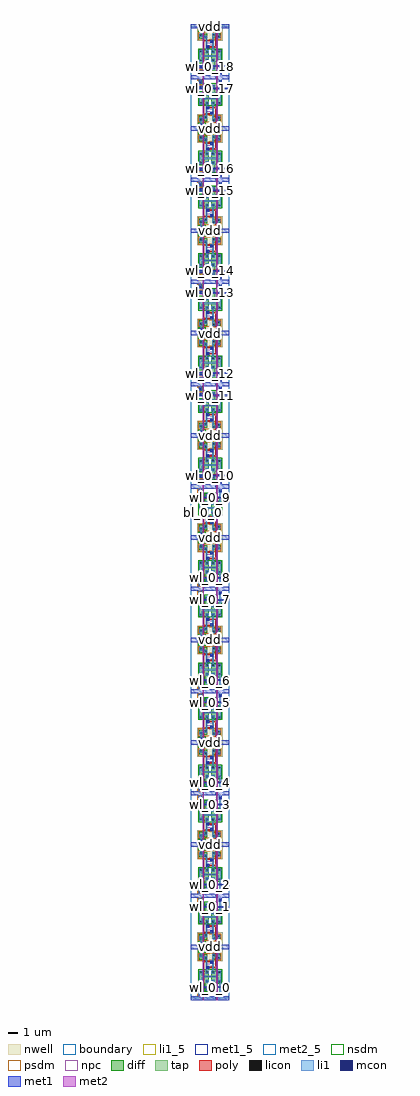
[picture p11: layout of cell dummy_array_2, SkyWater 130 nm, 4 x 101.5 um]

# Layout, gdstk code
import gdstk
lib = gdstk.Library(unit=1e-6, precision=1e-09)
def R(c, l, rs):  # rectangles x0, y0, x1, y1
    for r in rs: c.add(gdstk.rectangle(r[:2], r[2:], *l))
nwell = (64, 20)
diff = (65, 20)
tap = (65, 44)
poly = (66, 20)
licon = (66, 44)
li1_5 = (67, 5)
li1 = (67, 20)
mcon = (67, 44)
met1_5 = (68, 5)
met1 = (68, 20)
met2_5 = (69, 5)
met2 = (69, 20)
nsdm = (93, 44)
psdm = (94, 20)
npc = (95, 20)
boundary = (235, 4)

dummy_cell_1rw = lib.new_cell('dummy_cell_1rw')
R(dummy_cell_1rw, nwell, [(0.7,3.82,3.3,5.54)])
R(dummy_cell_1rw, diff, [(1.46,0.76,1.88,1.59), (2.15,0.76,2.57,1.59), (0.88,1.59,1.88,2.85), (2.15,1.59,3.15,2.85), (0.88,4,1.73,4.55), (2.21,4.05,3.06,4.6)])
R(dummy_cell_1rw, tap, [(0.8,0.32,1.18,0.73), (0.88,4.82,1.41,5.35)])
R(dummy_cell_1rw, poly, [(0.88,0.92,1.21,1.1), (0.7,1.1,3.3,1.25), (1.23,1.46,1.38,3.74), (2.65,1.46,2.8,3.09), (1.6,3.02,1.93,3.09), (1.6,3.09,2.8,3.24), (1.6,3.24,1.93,3.35), (2.56,3.24,2.71,4.73), (2.02,3.56,2.35,3.74), (1.23,3.74,2.35,3.89), (1.23,3.89,1.38,4.68)])
R(dummy_cell_1rw, licon, [(0.91,0.44,1.08,0.61), (1.63,0.83,1.8,1), (2.23,0.84,2.4,1.01), (0.96,1,1.13,1.17), (0.96,1.67,1.13,1.84), (1.63,1.67,1.8,1.84), (2.23,1.67,2.4,1.84), (2.9,1.67,3.07,1.84), (0.96,2.6,1.13,2.77), (1.63,2.6,1.8,2.77), (2.23,2.6,2.4,2.77), (2.9,2.6,3.07,2.77), (1.68,3.1,1.85,3.27), (2.1,3.64,2.27,3.81), (1.48,4.08,1.65,4.25), (2.81,4.13,2.98,4.3), (0.96,4.3,1.13,4.47), (2.29,4.35,2.46,4.52), (1,4.91,1.17,5.08)])
R(dummy_cell_1rw, li1_5, [(1.72,3.14,1.83,3.25), (2.13,3.67,2.24,3.78)])
R(dummy_cell_1rw, li1, [(2.98,0.3,3.15,1.59), (0.83,0.35,1.16,0.69), (1.55,0.76,1.88,1.08), (2.15,0.76,2.48,1.09), (0.88,0.92,1.21,1.25), (0.88,1.59,1.21,2.14), (1.55,1.59,1.88,1.92), (2.15,1.59,2.48,1.92), (2.82,1.59,3.15,2.14), (0.88,2.14,3.15,2.31), (0.88,2.31,1.21,2.85), (2.82,2.31,3.15,2.85), (1.55,2.52,1.88,2.85), (2.15,2.52,2.48,2.85), (1.55,2.85,1.72,3.02), (2.21,2.85,2.38,3.56), (1.55,3.02,1.93,3.35), (1.55,3.35,1.72,4), (2.02,3.56,2.38,3.89), (2.21,3.89,2.38,4.27), (1.4,4,1.73,4.33), (2.73,4.05,3.06,4.38), (0.88,4.22,1.21,4.55), (2.21,4.27,2.54,4.6), (2.81,4.38,2.98,4.83), (0.98,4.55,1.15,4.83), (0.92,4.83,1.25,5.16), (2.74,4.83,3.06,5.16)])
R(dummy_cell_1rw, mcon, [(2.98,0.38,3.15,0.55), (0.91,0.44,1.08,0.61), (0.96,1,1.13,1.17), (1.68,3.1,1.85,3.27), (2.1,3.64,2.27,3.81), (1,4.91,1.17,5.08), (2.81,4.91,2.98,5.08)])
R(dummy_cell_1rw, met1_5, [(2.57,-0.05,2.68,0.06), (0.98,1.02,1.09,1.13), (1.81,5.2,2.23,5.4)])
R(dummy_cell_1rw, met1, [(0,-0.2,4,0.21), (0,-0.2,4,0.21), (0.85,0.21,1.14,0.68), (2.9,0.21,3.2,0.62), (0.88,0.92,1.21,1.07), (0.9,1.07,1.19,1.23), (0.9,1.07,1.19,1.23), (1.62,3.04,1.91,3.33), (2.04,3.58,2.33,3.87), (0.92,4.83,1.25,5.09), (2.74,4.83,3.06,5.09), (0,5.09,4,5.54), (0,5.09,4,5.54)])
R(dummy_cell_1rw, met2_5, [(1.23,0.51,1.36,0.65), (2.65,0.52,2.78,0.66)])
R(dummy_cell_1rw, met2, [(1.23,-0.2,1.37,5.54), (1.23,-0.2,1.37,5.54), (2.65,-0.2,2.79,5.54), (2.65,-0.2,2.79,5.54)])
R(dummy_cell_1rw, nsdm, [(1.335,0.635,2.695,1.465), (0.755,1.465,3.275,2.975), (0.755,4.695,1.535,5.475)])
R(dummy_cell_1rw, psdm, [(0.675,0.195,1.305,0.855), (0.755,3.875,1.855,3.925), (0.755,3.925,3.185,4.675), (2.085,4.675,3.185,4.725)])
R(dummy_cell_1rw, npc, [(0.86,0.9,1.23,1.27), (1.58,3,1.95,3.32), (1.58,3.32,2.27,3.37), (1.68,3.37,2.27,3.54), (1.68,3.54,2.37,3.59), (2,3.59,2.37,3.91)])
R(dummy_cell_1rw, boundary, [(0,0,4,5.32)])
dummy_cell_1rw.add(gdstk.Label('vdd', (2.02,5.3), layer=68, texttype=5))
dummy_cell_1rw.add(gdstk.Label('gnd', (2.625,0.005), layer=68, texttype=5))
dummy_cell_1rw.add(gdstk.Label('wl', (1.035,1.075), layer=68, texttype=5))
dummy_cell_1rw.add(gdstk.Label('q', (1.775,3.195), layer=67, texttype=5))
dummy_cell_1rw.add(gdstk.Label('qb', (2.185,3.725), layer=67, texttype=5))
dummy_cell_1rw.add(gdstk.Label('br', (2.715,0.59), layer=69, texttype=5))
dummy_cell_1rw.add(gdstk.Label('bl', (1.295,0.58), layer=69, texttype=5))
dummy_cell_1rw.add(gdstk.Label('bl', (1.3,2.67), layer=69, texttype=20))
dummy_cell_1rw.add(gdstk.Label('br', (2.72,2.67), layer=69, texttype=20))
dummy_cell_1rw.add(gdstk.Label('wl', (1.045,1.15), layer=68, texttype=20))
dummy_cell_1rw.add(gdstk.Label('vdd', (2,5.315), layer=68, texttype=20))
dummy_cell_1rw.add(gdstk.Label('gnd', (2,0.005), layer=68, texttype=20))

dummy_array_2 = lib.new_cell('dummy_array_2')
R(dummy_array_2, met1, [(0,-0.2,4,0.21), (0,1.07,4,1.23), (0,5.09,4,5.54), (0,5.1,4,5.55), (0,9.41,4,9.57), (0,10.43,4,10.84), (0,10.44,4,10.85), (0,11.71,4,11.87), (0,15.73,4,16.18), (0,15.74,4,16.19), (0,20.05,4,20.21), (0,21.07,4,21.48), (0,21.08,4,21.49), (0,22.35,4,22.51), (0,26.37,4,26.82), (0,26.38,4,26.83), (0,30.69,4,30.85), (0,31.71,4,32.12), (0,31.72,4,32.13), (0,32.99,4,33.15), (0,37.01,4,37.46), (0,37.02,4,37.47), (0,41.33,4,41.49), (0,42.35,4,42.76), (0,42.36,4,42.77), (0,43.63,4,43.79), (0,47.65,4,48.1), (0,47.66,4,48.11), (0,51.97,4,52.13), (0,52.99,4,53.4), (0,53,4,53.41), (0,54.27,4,54.43), (0,58.29,4,58.74), (0,58.3,4,58.75), (0,62.61,4,62.77), (0,63.63,4,64.04), (0,63.64,4,64.05), (0,64.91,4,65.07), (0,68.93,4,69.38), (0,68.94,4,69.39), (0,73.25,4,73.41), (0,74.27,4,74.68), (0,74.28,4,74.69), (0,75.55,4,75.71), (0,79.57,4,80.02), (0,79.58,4,80.03), (0,83.89,4,84.05), (0,84.91,4,85.32), (0,84.92,4,85.33), (0,86.19,4,86.35), (0,90.21,4,90.66), (0,90.22,4,90.67), (0,94.53,4,94.69), (0,95.55,4,95.96), (0,95.56,4,95.97), (0,96.83,4,96.99), (0,100.85,4,101.3)])
R(dummy_array_2, met2, [(1.23,0,1.37,101.08), (2.65,0,2.79,101.08)])
R(dummy_array_2, boundary, [(0,0,4,101.08)])
dummy_array_2.add(gdstk.Reference(dummy_cell_1rw, (0,0)))
dummy_array_2.add(gdstk.Reference(dummy_cell_1rw, (0,10.64), x_reflection=True))
dummy_array_2.add(gdstk.Reference(dummy_cell_1rw, (0,10.64)))
dummy_array_2.add(gdstk.Reference(dummy_cell_1rw, (0,21.28), x_reflection=True))
dummy_array_2.add(gdstk.Reference(dummy_cell_1rw, (0,21.28)))
dummy_array_2.add(gdstk.Reference(dummy_cell_1rw, (0,31.92), x_reflection=True))
dummy_array_2.add(gdstk.Reference(dummy_cell_1rw, (0,31.92)))
dummy_array_2.add(gdstk.Reference(dummy_cell_1rw, (0,42.56), x_reflection=True))
dummy_array_2.add(gdstk.Reference(dummy_cell_1rw, (0,42.56)))
dummy_array_2.add(gdstk.Reference(dummy_cell_1rw, (0,53.2), x_reflection=True))
dummy_array_2.add(gdstk.Reference(dummy_cell_1rw, (0,53.2)))
dummy_array_2.add(gdstk.Reference(dummy_cell_1rw, (0,63.84), x_reflection=True))
dummy_array_2.add(gdstk.Reference(dummy_cell_1rw, (0,63.84)))
dummy_array_2.add(gdstk.Reference(dummy_cell_1rw, (0,74.48), x_reflection=True))
dummy_array_2.add(gdstk.Reference(dummy_cell_1rw, (0,74.48)))
dummy_array_2.add(gdstk.Reference(dummy_cell_1rw, (0,85.12), x_reflection=True))
dummy_array_2.add(gdstk.Reference(dummy_cell_1rw, (0,85.12)))
dummy_array_2.add(gdstk.Reference(dummy_cell_1rw, (0,95.76), x_reflection=True))
dummy_array_2.add(gdstk.Reference(dummy_cell_1rw, (0,95.76)))
dummy_array_2.add(gdstk.Label('bl_0_0', (1.3,50.54), layer=69, texttype=20))
dummy_array_2.add(gdstk.Label('br_0_0', (2.72,50.54), layer=69, texttype=20))
dummy_array_2.add(gdstk.Label('wl_0_0', (2,1.15), layer=68, texttype=20))
dummy_array_2.add(gdstk.Label('wl_0_1', (2,9.49), layer=68, texttype=20))
dummy_array_2.add(gdstk.Label('wl_0_2', (2,11.79), layer=68, texttype=20))
dummy_array_2.add(gdstk.Label('wl_0_3', (2,20.13), layer=68, texttype=20))
dummy_array_2.add(gdstk.Label('wl_0_4', (2,22.43), layer=68, texttype=20))
dummy_array_2.add(gdstk.Label('wl_0_5', (2,30.77), layer=68, texttype=20))
dummy_array_2.add(gdstk.Label('wl_0_6', (2,33.07), layer=68, texttype=20))
dummy_array_2.add(gdstk.Label('wl_0_7', (2,41.41), layer=68, texttype=20))
dummy_array_2.add(gdstk.Label('wl_0_8', (2,43.71), layer=68, texttype=20))
dummy_array_2.add(gdstk.Label('wl_0_9', (2,52.05), layer=68, texttype=20))
dummy_array_2.add(gdstk.Label('wl_0_10', (2,54.35), layer=68, texttype=20))
dummy_array_2.add(gdstk.Label('wl_0_11', (2,62.69), layer=68, texttype=20))
dummy_array_2.add(gdstk.Label('wl_0_12', (2,64.99), layer=68, texttype=20))
dummy_array_2.add(gdstk.Label('wl_0_13', (2,73.33), layer=68, texttype=20))
dummy_array_2.add(gdstk.Label('wl_0_14', (2,75.63), layer=68, texttype=20))
dummy_array_2.add(gdstk.Label('wl_0_15', (2,83.97), layer=68, texttype=20))
dummy_array_2.add(gdstk.Label('wl_0_16', (2,86.27), layer=68, texttype=20))
dummy_array_2.add(gdstk.Label('wl_0_17', (2,94.61), layer=68, texttype=20))
dummy_array_2.add(gdstk.Label('wl_0_18', (2,96.91), layer=68, texttype=20))
dummy_array_2.add(gdstk.Label('vdd', (2,5.325), layer=68, texttype=20))
dummy_array_2.add(gdstk.Label('vdd', (2,5.315), layer=68, texttype=20))
dummy_array_2.add(gdstk.Label('vdd', (2,69.165), layer=68, texttype=20))
dummy_array_2.add(gdstk.Label('vdd', (2,37.245), layer=68, texttype=20))
dummy_array_2.add(gdstk.Label('vdd', (2,58.525), layer=68, texttype=20))
dummy_array_2.add(gdstk.Label('vdd', (2,26.595), layer=68, texttype=20))
dummy_array_2.add(gdstk.Label('vdd', (2,47.885), layer=68, texttype=20))
dummy_array_2.add(gdstk.Label('vdd', (2,58.515), layer=68, texttype=20))
dummy_array_2.add(gdstk.Label('vdd', (2,69.155), layer=68, texttype=20))
dummy_array_2.add(gdstk.Label('vdd', (2,90.445), layer=68, texttype=20))
dummy_array_2.add(gdstk.Label('vdd', (2,15.965), layer=68, texttype=20))
dummy_array_2.add(gdstk.Label('vdd', (2,101.075), layer=68, texttype=20))
dummy_array_2.add(gdstk.Label('vdd', (2,26.605), layer=68, texttype=20))
dummy_array_2.add(gdstk.Label('vdd', (2,37.235), layer=68, texttype=20))
dummy_array_2.add(gdstk.Label('vdd', (2,90.435), layer=68, texttype=20))
dummy_array_2.add(gdstk.Label('vdd', (2,47.875), layer=68, texttype=20))
dummy_array_2.add(gdstk.Label('vdd', (2,79.795), layer=68, texttype=20))
dummy_array_2.add(gdstk.Label('vdd', (2,15.955), layer=68, texttype=20))
dummy_array_2.add(gdstk.Label('vdd', (2,79.805), layer=68, texttype=20))
dummy_array_2.add(gdstk.Label('gnd', (2,74.475), layer=68, texttype=20))
dummy_array_2.add(gdstk.Label('gnd', (2,85.115), layer=68, texttype=20))
dummy_array_2.add(gdstk.Label('gnd', (2,31.915), layer=68, texttype=20))
dummy_array_2.add(gdstk.Label('gnd', (2,85.125), layer=68, texttype=20))
dummy_array_2.add(gdstk.Label('gnd', (2,95.755), layer=68, texttype=20))
dummy_array_2.add(gdstk.Label('gnd', (2,74.485), layer=68, texttype=20))
dummy_array_2.add(gdstk.Label('gnd', (2,21.285), layer=68, texttype=20))
dummy_array_2.add(gdstk.Label('gnd', (2,53.205), layer=68, texttype=20))
dummy_array_2.add(gdstk.Label('gnd', (2,21.275), layer=68, texttype=20))
dummy_array_2.add(gdstk.Label('gnd', (2,53.195), layer=68, texttype=20))
dummy_array_2.add(gdstk.Label('gnd', (2,0.005), layer=68, texttype=20))
dummy_array_2.add(gdstk.Label('gnd', (2,95.765), layer=68, texttype=20))
dummy_array_2.add(gdstk.Label('gnd', (2,63.845), layer=68, texttype=20))
dummy_array_2.add(gdstk.Label('gnd', (2,42.565), layer=68, texttype=20))
dummy_array_2.add(gdstk.Label('gnd', (2,31.925), layer=68, texttype=20))
dummy_array_2.add(gdstk.Label('gnd', (2,42.555), layer=68, texttype=20))
dummy_array_2.add(gdstk.Label('gnd', (2,10.645), layer=68, texttype=20))
dummy_array_2.add(gdstk.Label('gnd', (2,63.835), layer=68, texttype=20))
dummy_array_2.add(gdstk.Label('gnd', (2,10.635), layer=68, texttype=20))

lib.write_gds('dummy_array_2.gds')
